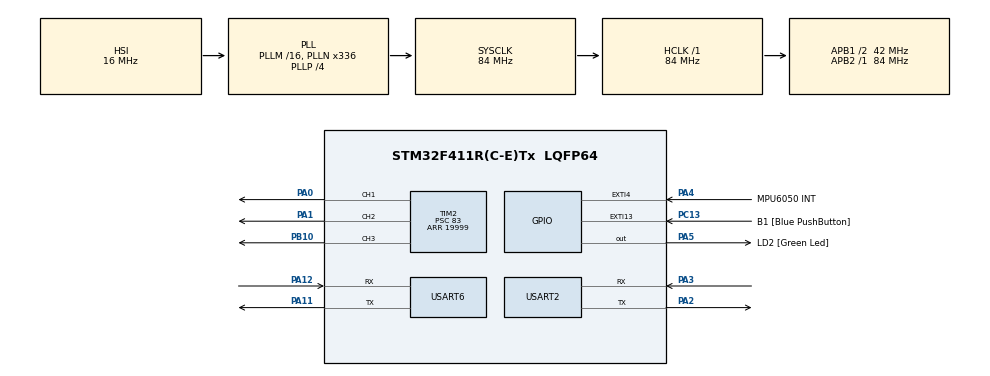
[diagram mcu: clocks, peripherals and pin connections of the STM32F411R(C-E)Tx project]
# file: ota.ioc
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Mcu.Family=STM32F4
Mcu.Name=STM32F411R(C-E)Tx
Mcu.Package=LQFP64
NVIC.EXTI4_IRQn=true\:0\:0\:false\:false\:true\:true\:true\:true
NVIC.PriorityGroup=NVIC_PRIORITYGROUP_4
NVIC.TIM1_UP_TIM10_IRQn=true\:15\:0\:false\:false\:true\:false\:true\:true
NVIC.TimeBase=TIM1_UP_TIM10_IRQn
NVIC.TimeBaseIP=TIM10
NVIC.USART2_IRQn=true\:5\:0\:true\:false\:true\:true\:true\:true
NVIC.USART6_IRQn=true\:0\:0\:false\:false\:true\:true\:true\:true
PA0-WKUP.Signal=S_TIM2_CH1_ETR
PA1.Signal=S_TIM2_CH2
PA11.Mode=Asynchronous
PA11.Signal=USART6_TX
PA12.Mode=Asynchronous
PA12.Signal=USART6_RX
PA13.GPIO_Label=TMS
PA13.Mode=Serial_Wire
PA13.Signal=SYS_JTMS-SWDIO
PA14.GPIO_Label=TCK
PA14.Mode=Serial_Wire
PA14.Signal=SYS_JTCK-SWCLK
PA2.GPIO_ModeDefaultPP=GPIO_MODE_AF_PP
PA2.GPIO_PuPd=GPIO_NOPULL
PA2.GPIO_Speed=GPIO_SPEED_FREQ_VERY_HIGH
PA2.Mode=Asynchronous
PA2.Signal=USART2_TX
PA3.GPIO_ModeDefaultPP=GPIO_MODE_AF_PP
PA3.GPIO_PuPd=GPIO_NOPULL
PA3.GPIO_Speed=GPIO_SPEED_FREQ_VERY_HIGH
PA3.Mode=Asynchronous
PA3.Signal=USART2_RX
PA4.GPIO_Label=MPU6050 INT
PA4.GPIO_PuPd=GPIO_PULLDOWN
PA4.Signal=GPXTI4
PA5.GPIO_Label=LD2 [Green Led]
PA5.Signal=GPIO_Output
PB10.Signal=S_TIM2_CH3
PB3.GPIO_Label=SWO
PB3.Signal=SYS_JTDO-SWO
PC13-ANTI_TAMP.GPIO_Label=B1 [Blue PushButton]
PC13-ANTI_TAMP.GPIO_ModeDefaultEXTI=GPIO_MODE_IT_FALLING
PC13-ANTI_TAMP.Signal=GPXTI13
PC14-OSC32_IN.Mode=LSE-External-Oscillator
PC14-OSC32_IN.Signal=RCC_OSC32_IN
PC15-OSC32_OUT.Mode=LSE-External-Oscillator
PC15-OSC32_OUT.Signal=RCC_OSC32_OUT
PH0\ -\ OSC_IN.Mode=HSE-External-Clock-Source
PH0\ -\ OSC_IN.Signal=RCC_OSC_IN
PH1\ -\ OSC_OUT.Mode=HSE-External-Clock-Source
PH1\ -\ OSC_OUT.Signal=RCC_OSC_OUT
ProjectManager.HeapSize=0x200
ProjectManager.StackSize=0x400
ProjectManager.TargetToolchain=CMake
RCC.48MHZClocksFreq_Value=84000000
RCC.AHBFreq_Value=84000000
RCC.APB1CLKDivider=RCC_HCLK_DIV2
RCC.APB1Freq_Value=42000000
RCC.APB1TimFreq_Value=84000000
RCC.APB2Freq_Value=84000000
RCC.APB2TimFreq_Value=84000000
RCC.CortexFreq_Value=84000000
RCC.FLatency-AdvancedSettings=FLASH_LATENCY_2
RCC.HCLKFreq_Value=84000000
RCC.HSE_VALUE=8000000
RCC.HSI_VALUE=16000000
RCC.PLLN=336
RCC.PLLP=RCC_PLLP_DIV4
RCC.SYSCLKFreq_VALUE=84000000
RCC.SYSCLKSource=RCC_SYSCLKSOURCE_PLLCLK
RCC.VCOOutputFreq_Value=336000000
SH.S_TIM2_CH1_ETR.0=TIM2_CH1,PWM Generation1 CH1
SH.S_TIM2_CH2.0=TIM2_CH2,PWM Generation2 CH2
SH.S_TIM2_CH3.0=TIM2_CH3,PWM Generation3 CH3
TIM2.Channel-PWM\ Generation1\ CH1=TIM_CHANNEL_1
TIM2.Channel-PWM\ Generation2\ CH2=TIM_CHANNEL_2
TIM2.Channel-PWM\ Generation3\ CH3=TIM_CHANNEL_3
TIM2.Period=19999
TIM2.Prescaler=83
TIM2.Pulse-PWM\ Generation1\ CH1=1500
TIM2.Pulse-PWM\ Generation2\ CH2=1500
USART2.VirtualMode=VM_ASYNC
USART6.VirtualMode=VM_ASYNC
VP_SYS_VS_tim10.Mode=TIM10
VP_TIM2_VS_ClockSourceINT.Mode=Internal
board=NUCLEO-F411RE

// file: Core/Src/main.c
/* USER CODE BEGIN Header */
/**
  ******************************************************************************
  * @file           : main.c
  * @brief          : Main program body
  ******************************************************************************
  * @attention
  *
  * Copyright (c) 2026 STMicroelectronics.
  * All rights reserved.
  *
  * This software is licensed under terms that can be found in the LICENSE file
  * in the root directory of this software component.
  * If no LICENSE file comes with this software, it is provided AS-IS.
  *
  ******************************************************************************
  */
/* USER CODE END Header */
#include "main.h"
#include "tim.h"
#include "usart.h"
#include "gpio.h"

/* USER CODE BEGIN Includes */
#include <stdio.h>
#include <string.h>
/* USER CODE END Includes */

/* USER CODE BEGIN PTD */

// 함수 포인터 (점프를 위해 사용)
typedef void (*pFunction)(void);

/* USER CODE END PTD */

/* USER CODE BEGIN PD */
// 메모리 주소 정의 (앞서 설명한 메모리 지도 참고)
#define OTA_FLAG_ADDRESS        0x08004000 // Sector 1 부트로더 실행 코드
#define APPLICATION_ADDRESS       0x08008000 // Sector 2 OTA 업데이트 상태 깃발 (Flag) 저장소
#define DOWNLOAD_PARTITION_ADDR        0x08040000 // Sector 6 실제 짐벌 앱 (Main App) 실행 영역
#define OTA_UPDATE_MAGIC_NUM    0xDEADBEEF // 업데이트 필요 플래그
#define APP_MAX_SIZE            (224 * 1024) // 224KB

/* USER CODE END PD */

/* USER CODE BEGIN PV */
void Perform_OTA_Update(void);
void Jump_To_App(void);
/* USER CODE END PV */

void SystemClock_Config(void);

/* USER CODE BEGIN 0 */

// 사용하는 UART 핸들러 (CubeMX에서 printf용으로 설정한 UART, 보통 huart2)
extern UART_HandleTypeDef huart2;

// GCC 환경에서 printf를 UART로 연결
int _write(int file, char *ptr, int len) {
    HAL_UART_Transmit(&huart2, (uint8_t *)ptr, len, HAL_MAX_DELAY);
    return len;
}
/* USER CODE END 0 */

int main(void)
{

  /* USER CODE BEGIN 1 */
    HAL_Init();
    SystemClock_Config();
    MX_GPIO_Init();
    MX_USART2_UART_Init(); //
      // MX_USART6_UART_Init(); // 디버그용 UART
    HAL_Delay(2000);
    for(int i=0; i<3; i++) {
          HAL_GPIO_TogglePin(GPIOA, GPIO_PIN_5); // 보드 LED 핀에 맞게 수정
          HAL_Delay(100);
          HAL_GPIO_TogglePin(GPIOA, GPIO_PIN_5);
          HAL_Delay(100);
    }

    printf("\r\n=================================\r\n");
    printf("[Bootloader] System Started!\r\n");
    printf("=================================\r\n");

    // 부트로더 동작 확인용 LED 점등
    // 동작 확인용: 부트로더 진입 시 LED 빠르게 3번 점멸

    printf("\r\n--- STM32 Bootloader Started ---\r\n");

    // 업데이트 플래그 확인
    uint32_t ota_flag = *(__IO uint32_t*)OTA_FLAG_ADDRESS;
    if (ota_flag == OTA_UPDATE_MAGIC_NUM) {
        Perform_OTA_Update(); // 업데이트 수행
    } else {
        printf("[BOOT] Normal Boot.\r\n");
    }

    // 메인 앱으로 이동
    Jump_To_App();

    while (1) {
        // Jump에 실패하면 여기 갇힘 (LED 무한 깜빡임 처리)
        HAL_GPIO_TogglePin(GPIOA, GPIO_PIN_5);
        HAL_Delay(500);
    }
  /* USER CODE END 1 */

  /* MCU Configuration--------------------------------------------------------*/

  /* Reset of all peripherals, Initializes the Flash interface and the Systick. */
  HAL_Init();

  /* Configure the system clock */
  SystemClock_Config();

  /* Initialize all configured peripherals */
  MX_GPIO_Init();
  MX_USART2_UART_Init();
  MX_TIM2_Init();
  MX_USART6_UART_Init();

  /* Infinite loop */
  while (1)
  {

  }
}

void SystemClock_Config(void)
{
  RCC_OscInitTypeDef RCC_OscInitStruct = {0};
  RCC_ClkInitTypeDef RCC_ClkInitStruct = {0};

  /** Configure the main internal regulator output voltage
  */
  __HAL_RCC_PWR_CLK_ENABLE();
  __HAL_PWR_VOLTAGESCALING_CONFIG(PWR_REGULATOR_VOLTAGE_SCALE1);

  /** Initializes the RCC Oscillators according to the specified parameters
  * in the RCC_OscInitTypeDef structure.
  */
  RCC_OscInitStruct.OscillatorType = RCC_OSCILLATORTYPE_HSI;
  RCC_OscInitStruct.HSIState = RCC_HSI_ON;
  RCC_OscInitStruct.HSICalibrationValue = RCC_HSICALIBRATION_DEFAULT;
  RCC_OscInitStruct.PLL.PLLState = RCC_PLL_ON;
  RCC_OscInitStruct.PLL.PLLSource = RCC_PLLSOURCE_HSI;
  RCC_OscInitStruct.PLL.PLLM = 16;
  RCC_OscInitStruct.PLL.PLLN = 336;
  RCC_OscInitStruct.PLL.PLLP = RCC_PLLP_DIV4;
  RCC_OscInitStruct.PLL.PLLQ = 4;
  if (HAL_RCC_OscConfig(&RCC_OscInitStruct) != HAL_OK)
  {
    Error_Handler();
  }

  /** Initializes the CPU, AHB and APB buses clocks
  */
  RCC_ClkInitStruct.ClockType = RCC_CLOCKTYPE_HCLK|RCC_CLOCKTYPE_SYSCLK
                              |RCC_CLOCKTYPE_PCLK1|RCC_CLOCKTYPE_PCLK2;
  RCC_ClkInitStruct.SYSCLKSource = RCC_SYSCLKSOURCE_PLLCLK;
  RCC_ClkInitStruct.AHBCLKDivider = RCC_SYSCLK_DIV1;
  RCC_ClkInitStruct.APB1CLKDivider = RCC_HCLK_DIV2;
  RCC_ClkInitStruct.APB2CLKDivider = RCC_HCLK_DIV1;

  if (HAL_RCC_ClockConfig(&RCC_ClkInitStruct, FLASH_LATENCY_2) != HAL_OK)
  {
    Error_Handler();
  }
}

/* USER CODE BEGIN 4 */
 void Perform_OTA_Update(void) {
    printf("[BOOT] OTA Update Detected! Starting copy...\r\n");

    HAL_FLASH_Unlock();

    // 1. 기존 앱 영역(Sector 2,3,4,5) 지우기
    FLASH_EraseInitTypeDef EraseInitStruct;
    uint32_t SectorError;
    EraseInitStruct.TypeErase = FLASH_TYPEERASE_SECTORS;
    EraseInitStruct.VoltageRange = FLASH_VOLTAGE_RANGE_3;
    EraseInitStruct.Sector = FLASH_SECTOR_2;
    EraseInitStruct.NbSectors = 4; // Sector 2, 3, 4, 5
    HAL_FLASHEx_Erase(&EraseInitStruct, &SectorError);

    // 2. 다운로드 영역(Sector 6)에서 앱 영역으로 복사 (4바이트씩)
    uint32_t *pSource = (uint32_t *)DOWNLOAD_PARTITION_ADDR;
    uint32_t destAddr = APPLICATION_ADDRESS;

    // 다운로드된 파일의 끝을 알 수 없으므로, 여유 있게 넉넉히 복사하거나
    // 파일 크기 정보를 따로 저장해야 합니다. 여기서는 최대 사이즈 복사 가정.
    for (uint32_t i = 0; i < APP_MAX_SIZE; i += 4) {
        if (*pSource != 0xFFFFFFFF) { // 빈 데이터가 아니면 기록
            HAL_FLASH_Program(FLASH_TYPEPROGRAM_WORD, destAddr, *pSource);
        }
        pSource++;
        destAddr += 4;
    }

    // 3. 업데이트 완료 후 Sector 1(플래그) 지우기
    EraseInitStruct.Sector = FLASH_SECTOR_1;
    EraseInitStruct.NbSectors = 1;
    HAL_FLASHEx_Erase(&EraseInitStruct, &SectorError);

    HAL_FLASH_Lock();
    printf("[BOOT] OTA Update Complete!\r\n");
}

void Jump_To_App(void) {
    printf("[BOOT] Jumping to Gimbal App...\r\n");

    // 애플리케이션 주소에 유효한 스택 포인터가 있는지 확인
    if (((*(__IO uint32_t*)APPLICATION_ADDRESS) & 0x2FFE0000 ) == 0x20000000) {
        // 모든 주변장치 초기화 해제 (매우 중요! 안 하면 앱에서 충돌남)
        HAL_UART_DeInit(&huart2);
        HAL_RCC_DeInit();
        HAL_DeInit();
        SysTick->CTRL = 0;
        SysTick->LOAD = 0;
        SysTick->VAL = 0;

        uint32_t JumpAddress = *(__IO uint32_t*) (APPLICATION_ADDRESS + 4);
        pFunction Jump = (pFunction) JumpAddress;

        // 메인 앱의 스택 포인터 설정
        __set_MSP(*(__IO uint32_t*) APPLICATION_ADDRESS);

        Jump(); // 짐벌 앱으로 점프!
    } else {
        printf("[BOOT] Error: No valid app found!\r\n");
    }
}
/* USER CODE END 4 */

void HAL_TIM_PeriodElapsedCallback(TIM_HandleTypeDef *htim)
{
  if (htim->Instance == TIM10)
  {
    HAL_IncTick();
  }
}

void Error_Handler(void)
{
  __disable_irq();
  while (1)
  {
  }
}
